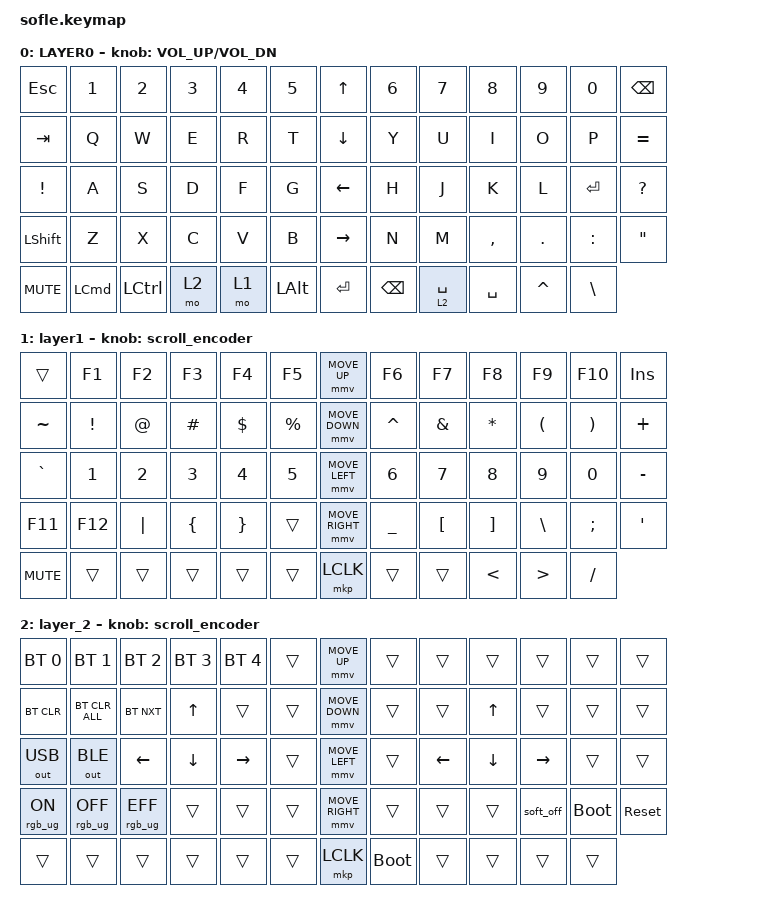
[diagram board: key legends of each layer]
#include <behaviors/mouse_keys.dtsi>
#include <behaviors.dtsi>
#include <dt-bindings/zmk/bt.h>
#include <dt-bindings/zmk/keys.h>
#include <dt-bindings/zmk/mouse.h>
#include <dt-bindings/zmk/outputs.h>
#include <dt-bindings/zmk/rgb.h>

#define ZMK_MOUSE_DEFAULT_MOVE_VAL 1200  // 600
#define ZMK_MOUSE_DEFAULT_SCRL_VAL 20    // 10
#define U_MS_U &mmv MOVE_UP
#define U_MS_D &mmv MOVE_DOWN
#define U_MS_L &mmv MOVE_LEFT
#define U_MS_R &mmv MOVE_RIGHT
#define ZMK_MOUSE_DEFAULT_MOVE_VAL 1200  //  600
#define ZMK_MOUSE_DEFAULT_SCRL_VAL 20    // 10

/ {
    behaviors {
        mmv {
            acceleration-exponent = <1>;      // 1
            time-to-max-speed-ms = <900>;    // 40
            delay-ms = <0>;                   // 0
        };

        msc {
            acceleration-exponent = <1>;      // 0
            time-to-max-speed-ms = <400>;      // 500
            delay-ms = <0>;                   //   10
        };
    };

    scroll_encoder: scroll_encoder {
        compatible = "zmk,behavior-sensor-rotate";
        #sensor-binding-cells = <0>;
        bindings = <&msc SCRL_DOWN>, <&msc SCRL_UP>;

        tap-ms = <30>;
    };

    keymap {
        compatible = "zmk,keymap";

        layer0 {
            bindings = <
&kp ESC          &kp N1            &kp N2     &kp N3  &kp N4  &kp N5          &kp UP_ARROW     &kp N6         &kp N7       &kp N8     &kp N9     &kp N0         &kp BACKSPACE
&kp TAB          &kp Q             &kp W      &kp E   &kp R   &kp T           &kp DOWN_ARROW   &kp Y          &kp U        &kp I      &kp O      &kp P          &kp EQUAL
&kp EXCLAMATION  &kp A             &kp S      &kp D   &kp F   &kp G           &kp LEFT_ARROW   &kp H          &kp J        &kp K      &kp L      &kp RETURN     &kp QUESTION
&kp LSHFT        &kp Z             &kp X      &kp C   &kp V   &kp B           &kp RIGHT_ARROW  &kp N          &kp M        &kp COMMA  &kp DOT    &kp COLON      &kp DOUBLE_QUOTES
&kp C_MUTE       &kp LEFT_COMMAND  &kp LCTRL  &mo 2   &mo 1   &kp LEFT_ALT    &kp ENTER        &kp BACKSPACE  &lt 2 SPACE  &kp SPACE  &kp CARET  &kp BACKSLASH
            >;

            sensor-bindings = <&inc_dec_kp C_VOLUME_UP C_VOL_DN>;
            display-name = "LAYER0";
        };

        layer_1 {
            bindings = <
&trans      &kp F1           &kp F2        &kp F3          &kp F4           &kp F5          &mmv MOVE_UP     &kp F6        &kp F7            &kp F8             &kp F9                &kp F10                &kp INSERT
&kp TILDE   &kp EXCLAMATION  &kp AT        &kp HASH        &kp DOLLAR       &kp PERCENT     &mmv MOVE_DOWN   &kp CARET     &kp AMPERSAND     &kp ASTERISK       &kp LEFT_PARENTHESIS  &kp RIGHT_PARENTHESIS  &kp PLUS
&kp GRAVE   &kp NUMBER_1     &kp NUMBER_2  &kp NUMBER_3    &kp NUMBER_4     &kp NUMBER_5    &mmv MOVE_LEFT   &kp NUMBER_6  &kp NUMBER_7      &kp NUMBER_8       &kp NUMBER_9          &kp NUMBER_0           &kp MINUS
&kp F11     &kp F12          &kp PIPE      &kp LEFT_BRACE  &kp RIGHT_BRACE  &trans          &mmv MOVE_RIGHT  &kp UNDER     &kp LEFT_BRACKET  &kp RIGHT_BRACKET  &kp BACKSLASH         &kp SEMI               &kp APOSTROPHE
&kp C_MUTE  &trans           &trans        &trans          &trans           &trans          &mkp LCLK        &trans        &trans            &kp LESS_THAN      &kp GREATER_THAN      &kp SLASH
            >;

            display-name = "layer1";
            sensor-bindings = <&scroll_encoder>;
        };

        layer_2 {
            bindings = <
&bt BT_SEL 0    &bt BT_SEL 1     &bt BT_SEL 2     &bt BT_SEL 3    &bt BT_SEL 4     &trans    &mmv MOVE_UP     &trans       &trans    &trans          &trans     &trans       &trans
&bt BT_CLR      &bt BT_CLR_ALL   &bt BT_NXT       &kp UP_ARROW    &trans           &trans    &mmv MOVE_DOWN   &trans       &trans    &kp UP_ARROW    &trans     &trans       &trans
&out OUT_USB    &out OUT_BLE     &kp LEFT_ARROW   &kp DOWN_ARROW  &kp RIGHT_ARROW  &trans    &mmv MOVE_LEFT   &trans       &kp LEFT  &kp DOWN_ARROW  &kp RIGHT  &trans       &trans
&rgb_ug RGB_ON  &rgb_ug RGB_OFF  &rgb_ug RGB_EFF  &trans          &trans           &trans    &mmv MOVE_RIGHT  &trans       &trans    &trans          &soft_off  &bootloader  &sys_reset
&trans          &trans           &trans           &trans          &trans           &trans    &mkp LCLK        &bootloader  &trans    &trans          &trans     &trans
            >;

            sensor-bindings = <&scroll_encoder>;
        };
    };
};
